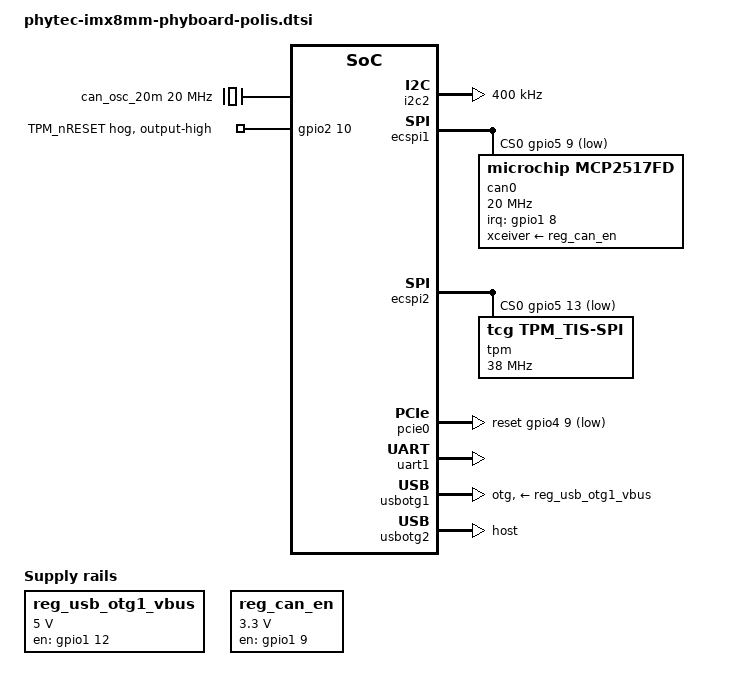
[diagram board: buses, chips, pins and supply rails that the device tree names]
// SPDX-License-Identifier: GPL-2.0
/*
 * Copyright (C) 2019 Daniel Glöckner <dg@emlix.com>
 */

/ {
	reg_usb_otg1_vbus: regulator-usb-otg1-vbus {
		pinctrl-names = "default";
		pinctrl-0 = <&pinctrl_usbotg1pwrgrp>;
		compatible = "regulator-fixed";
		regulator-name = "usb_otg1_vbus";
		regulator-min-microvolt = <5000000>;
		regulator-max-microvolt = <5000000>;
		gpio = <&gpio1 12 GPIO_ACTIVE_HIGH>;
		enable-active-high;
	};

	reg_can_en: regulator-can-en {
		compatible = "regulator-fixed";
		pinctrl-names = "default";
		pinctrl-0 = <&pinctrl_can_en>;
		regulator-name = "reg_can_en";
		regulator-min-microvolt = <3300000>;
		regulator-max-microvolt = <3300000>;
		gpio = <&gpio1 9 GPIO_ACTIVE_HIGH>;
		startup-delay-us = <20>;
		enable-active-high;
	};

	clocks {
		#address-cells = <1>;
		#size-cells = <0>;

		can_osc_20m: can-clock@0 {
			compatible = "fixed-clock";
			reg = <0>;
			#clock-cells = <0>;
			clock-frequency = <20000000>;
			clock-output-names = "can_osc_20m";
		};
	};
};

&iomuxc {
	imx8mm-phyboard-polis {
		pinctrl_can_en: can-engrp {
			fsl,pins = <
				MX8MM_IOMUXC_GPIO1_IO09_ENET1_1588_EVENT0_OUT	0x00
			>;
		};

		pinctrl_ecspi1: ecspi1grp {
			fsl,pins = <
				MX8MM_IOMUXC_ECSPI1_SCLK_ECSPI1_SCLK	0x82
				MX8MM_IOMUXC_ECSPI1_MOSI_ECSPI1_MOSI	0x82
				MX8MM_IOMUXC_ECSPI1_MISO_ECSPI1_MISO	0x82
			>;
		};

		pinctrl_ecspi1_cs: ecspi1csgrp {
			fsl,pins = <
				MX8MM_IOMUXC_ECSPI1_SS0_GPIO5_IO9	0x00
			>;
		};

		pinctrl_ecspi2: ecspi2grp {
			fsl,pins = <
				MX8MM_IOMUXC_ECSPI2_SCLK_ECSPI2_SCLK	0x82
				MX8MM_IOMUXC_ECSPI2_MOSI_ECSPI2_MOSI	0x82
				MX8MM_IOMUXC_ECSPI2_MISO_ECSPI2_MISO	0x82
			>;
		};

		pinctrl_ecspi2_cs: ecspi2csgrp {
			fsl,pins = <
				MX8MM_IOMUXC_ECSPI2_SS0_GPIO5_IO13	0x00
			>;
		};

		pinctrl_i2c2: i2c2grp {
			fsl,pins = <
				MX8MM_IOMUXC_I2C2_SCL_I2C2_SCL		0x400001c3
				MX8MM_IOMUXC_I2C2_SDA_I2C2_SDA		0x400001c3
			>;
		};

		pinctrl_pcie: pciegrp {
			fsl,pins = <
				/* /PERST */
				MX8MM_IOMUXC_SAI1_RXD7_GPIO4_IO9	0x00
				/* COEX1 */
				MX8MM_IOMUXC_SAI1_TXD0_GPIO4_IO12	0x12
				/* COEX2 */
				MX8MM_IOMUXC_SAI1_TXD7_GPIO4_IO19	0x12
			>;
		};

		pinctrl_tpm: tpmgrp {
			fsl,pins = <
				MX8MM_IOMUXC_SD1_RESET_B_GPIO2_IO10	0x140
				MX8MM_IOMUXC_SD1_STROBE_GPIO2_IO11	0x140
			>;
		};

		pinctrl_usbotg1pwrgrp: usbotg1pwrgrp {
			fsl,pins = <
				MX8MM_IOMUXC_GPIO1_IO12_GPIO1_IO12	0x00
			>;
		};

		pinctrl_usbotg1grp: usbotg1grp {
			fsl,pins = <
				MX8MM_IOMUXC_GPIO1_IO10_USB1_OTG_ID	0x80
				MX8MM_IOMUXC_GPIO1_IO13_USB1_OTG_OC	0x80
			>;
		};

		pinctrl_uart1: uart1grp {
			fsl,pins = <
				MX8MM_IOMUXC_SAI2_RXFS_UART1_DCE_TX	0x00
				MX8MM_IOMUXC_SAI2_RXC_UART1_DCE_RX	0x00
				MX8MM_IOMUXC_SAI2_RXD0_UART1_DCE_RTS_B	0x00
				MX8MM_IOMUXC_SAI2_TXFS_UART1_DCE_CTS_B	0x00
			>;
		};

	};
};

&i2c2 {
	clock-frequency = <400000>;
	pinctrl-names = "default";
	pinctrl-0 = <&pinctrl_i2c2>;
	status = "okay";
};

&ecspi1 {
	#address-cells = <1>;
	#size-cells = <0>;
	pinctrl-names = "default";
	pinctrl-0 = <&pinctrl_ecspi1 &pinctrl_ecspi1_cs>;
	cs-gpios = <&gpio5 9 GPIO_ACTIVE_LOW>;
	status = "okay";

	can0: can@0 {
		compatible = "microchip,mcp2517fd";
		reg = <0>;
		spi-max-frequency = <20000000>;
		interrupt-parent = <&gpio1>;
		interrupts = <8 IRQ_TYPE_EDGE_FALLING>;
		clocks = <&can_osc_20m>;
		xceiver-supply = <&reg_can_en>;
	};
};

&ecspi2 {
	#address-cells = <1>;
	#size-cells = <0>;
	fsl,spi-num-chipselects = <1>;
	pinctrl-names = "default";
	pinctrl-0 = <&pinctrl_ecspi2 &pinctrl_ecspi2_cs>;
	cs-gpios = <&gpio5 13 GPIO_ACTIVE_LOW>;
	status = "okay";

	tpm: tpm_tis@0 {
		pinctrl-names = "default";
		pinctrl-0 = <&pinctrl_tpm>;
		compatible = "tcg,tpm_tis-spi";
		reg = <0>;
		spi-max-frequency = <38000000>;
#if 0 /* IRQ support is not properly implemented in the driver */
		interrupt-parent = <&gpio2>;
		interrupts = <11 IRQ_TYPE_LEVEL_LOW>;
#endif
	};
};

&gpio2 {
	tpm_nreset {
		gpio-hog;
		gpios = <10 GPIO_ACTIVE_HIGH>;
		output-high;
		line-name = "TPM_nRESET";
	};
};

&pcie0 {
	pinctrl-names = "default";
	pinctrl-0 = <&pinctrl_pcie>;
	reset-gpio = <&gpio4 9 GPIO_ACTIVE_LOW>;
	status = "okay";
};

&uart1 {
	pinctrl-names = "default";
	pinctrl-0 = <&pinctrl_uart1>;
	assigned-clocks = <&clk IMX8MM_CLK_UART1>;
	assigned-clock-parents = <&clk IMX8MM_SYS_PLL1_80M>;
	status = "okay";
	uart-has-rtscts;
};

&usbotg1 {
	pinctrl-names = "default";
	pinctrl-0 = <&pinctrl_usbotg1grp>;
	vbus-supply = <&reg_usb_otg1_vbus>;
	dr_mode = "otg";
	picophy,pre-emp-curr-control = <3>;
	picophy,dc-vol-level-adjust = <7>;
	status = "okay";
};

&usbotg2 {
	dr_mode = "host";
	picophy,pre-emp-curr-control = <3>;
	picophy,dc-vol-level-adjust = <7>;
	status = "okay";
};
